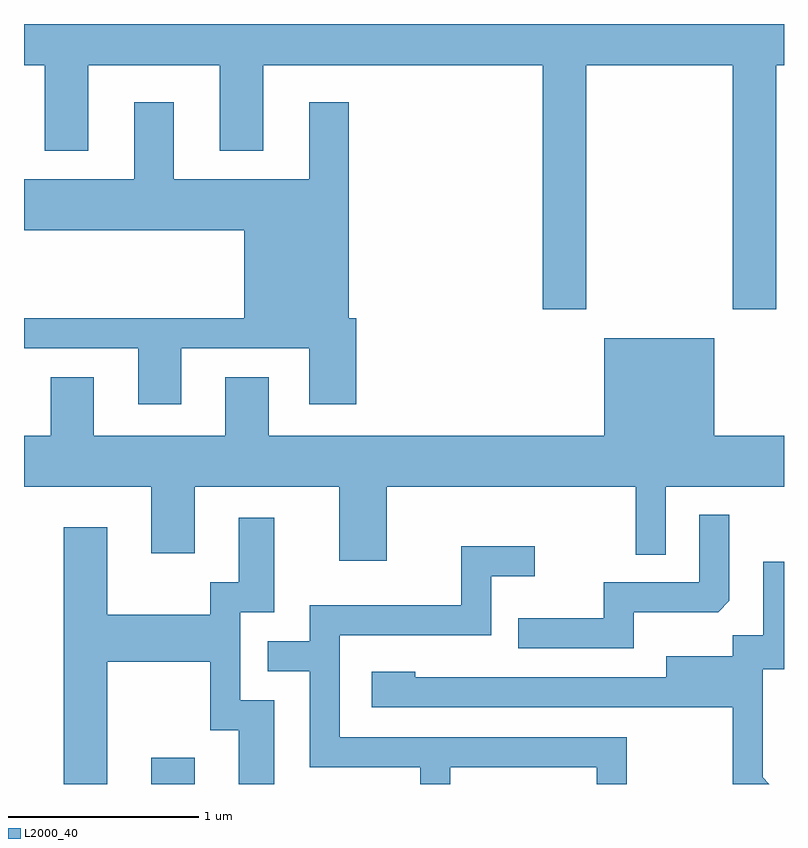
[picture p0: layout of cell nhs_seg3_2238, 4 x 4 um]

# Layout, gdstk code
import gdstk
lib = gdstk.Library(unit=1e-6, precision=1e-09)
def R(c, l, rs):  # rectangles x0, y0, x1, y1
    for r in rs: c.add(gdstk.rectangle(r[:2], r[2:], *l))
def P(c, l, *ps):  # polygons
    for p in ps: c.add(gdstk.Polygon(p, *l))
L2000_40 = (2000, 40)

nhs_seg3_2238 = lib.new_cell('nhs_seg3_2238')
R(nhs_seg3_2238, L2000_40, [(250.281,1239.892,250.509,1240.029)])
P(nhs_seg3_2238, L2000_40, [(253.341,1242.391),(253.569,1242.391),(253.569,1243.676),(253.611,1243.676),(253.611,1243.892),(249.611,1243.892),(249.611,1243.676),(249.721,1243.676),(249.721,1243.226),(249.949,1243.226),(249.949,1243.676),(250.641,1243.676),(250.641,1243.226),(250.869,1243.226),(250.869,1243.676),(252.341,1243.676),(252.341,1242.391),(252.569,1242.391),(252.569,1243.676),(253.341,1243.676)],
  [(250.439,1242.186),(251.111,1242.186),(251.111,1241.891),(251.359,1241.891),(251.359,1242.344),(251.319,1242.344),(251.319,1243.479),(251.111,1243.479),(251.111,1243.074),(250.399,1243.074),(250.399,1243.479),(250.191,1243.479),(250.191,1243.074),(249.611,1243.074),(249.611,1242.806),(250.771,1242.806),(250.771,1242.344),(249.611,1242.344),(249.611,1242.186),(250.211,1242.186),(250.211,1241.891),(250.439,1241.891)],
  [(249.979,1242.034),(249.751,1242.034),(249.751,1241.724),(249.611,1241.724),(249.611,1241.456),(250.281,1241.456),(250.281,1241.106),(250.509,1241.106),(250.509,1241.456),(251.271,1241.456),(251.271,1241.066),(251.519,1241.066),(251.519,1241.456),(252.831,1241.456),(252.831,1241.098),(252.989,1241.098),(252.989,1241.456),(253.611,1241.456),(253.611,1241.724),(253.244,1241.724),(253.244,1242.239),(252.666,1242.239),(252.666,1241.724),(250.899,1241.724),(250.899,1242.034),(250.671,1242.034),(250.671,1241.724),(249.979,1241.724)],
  [(252.819,1240.796),(253.264,1240.796),(253.324,1240.857),(253.324,1241.308),(253.166,1241.308),(253.166,1240.954),(252.661,1240.954),(252.661,1240.764),(252.213,1240.764),(252.213,1240.606),(252.819,1240.606)],
  [(250.049,1240.536),(250.591,1240.536),(250.591,1240.176),(250.741,1240.176),(250.741,1239.892),(250.929,1239.892),(250.929,1240.334),(250.749,1240.334),(250.749,1240.796),(250.929,1240.796),(250.929,1241.294),(250.741,1241.294),(250.741,1240.954),(250.591,1240.954),(250.591,1240.784),(250.049,1240.784),(250.049,1241.244),(249.821,1241.244),(249.821,1239.892),(250.049,1239.892)],
  [(251.854,1239.981),(252.626,1239.981),(252.626,1239.892),(252.784,1239.892),(252.784,1240.139),(251.274,1240.139),(251.274,1240.676),(252.069,1240.676),(252.069,1240.986),(252.298,1240.986),(252.298,1241.144),(251.911,1241.144),(251.911,1240.834),(251.116,1240.834),(251.116,1240.644),(250.893,1240.644),(250.893,1240.486),(251.116,1240.486),(251.116,1239.981),(251.696,1239.981),(251.696,1239.892),(251.854,1239.892)],
  [(253.499,1239.927),(253.499,1240.496),(253.611,1240.496),(253.611,1241.063),(253.501,1241.063),(253.501,1240.674),(253.341,1240.674),(253.341,1240.564),(252.991,1240.564),(252.991,1240.454),(251.669,1240.454),(251.669,1240.484),(251.441,1240.484),(251.441,1240.296),(253.341,1240.296),(253.341,1239.892),(253.534,1239.892)])

lib.write_gds('nhs_seg3_2238.gds')
